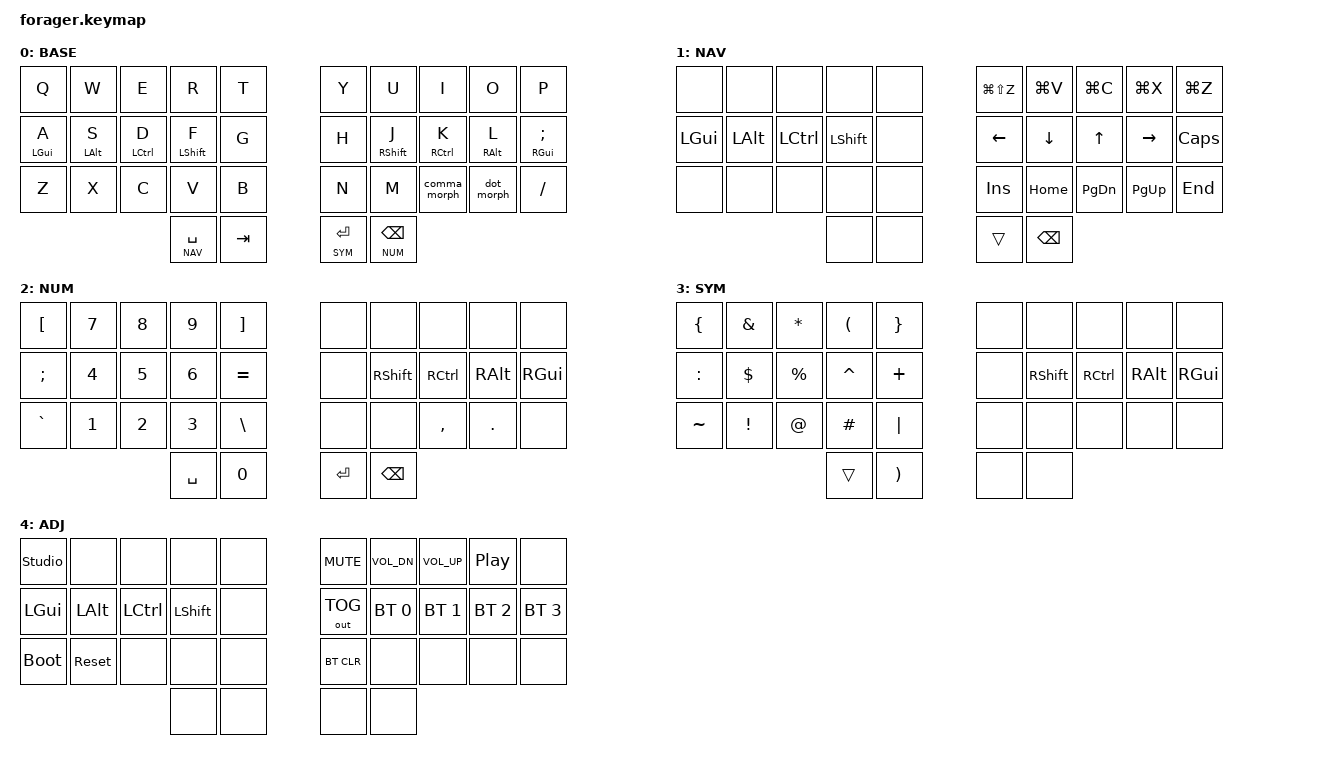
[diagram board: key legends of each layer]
/*
 * Copyright (c) 2020 The ZMK Contributors
 *
 * SPDX-License-Identifier: MIT
 */

//
//   Miryoku-style layout — QWERTY base, vim arrows (HJKL), GACS home row mods.
//   Adapted from the Corne (42-key) config to the Forager (34-key).
//   urob-inspired: timeless positional HRM, punctuation morphs, smart num.
//
//   Layer 0: BASE  — QWERTY + home row mods
//   Layer 1: NAV   — vim arrows, clipboard, nav      (hold left SPACE thumb)
//   Layer 2: NUM   — numpad on left hand    (hold right BSPC thumb; J+K latches)
//   Layer 3: SYM   — symbols on left hand            (hold right RET thumb)
//   Layer 4: ADJ   — BT, output, studio, vol, reset  (hold SPACE+RET together)
//
//   A rendered diagram of this keymap lives at keymap-drawer/forager.svg
//   (auto-generated by the "Draw keymap" workflow).

#include <behaviors.dtsi>
#include <dt-bindings/zmk/bt.h>
#include <dt-bindings/zmk/keys.h>
#include <dt-bindings/zmk/outputs.h>

#define BASE 0
#define NAV  1
#define NUM  2
#define SYM  3
#define ADJ  4

// Forager key positions (34 keys):
// Row 0:  0  1  2  3  4     5  6  7  8  9
// Row 1: 10 11 12 13 14    15 16 17 18 19
// Row 2: 20 21 22 23 24    25 26 27 28 29
// Thumb:        30 31      32 33
#define KEYS_L 0 1 2 3 4 10 11 12 13 14 20 21 22 23 24
#define KEYS_R 5 6 7 8 9 15 16 17 18 19 25 26 27 28 29
#define THUMBS 30 31 32 33

&lt {
    flavor = "balanced";
    tapping-term-ms = <200>;
    quick-tap-ms = <175>;
};

/ {
    conditional_layers {
        compatible = "zmk,conditional-layers";

        // ADJ holds BT/bootloader/reset — two-handed chord only, so a
        // single-thumb misfire can never land on it.
        adj_tri_layer {
            if-layers = <NAV SYM>;
            then-layer = <ADJ>;
        };
    };

    behaviors {
        // -- Timeless positional home row mods (urob-style) --
        // balanced + require-prior-idle + cross-hand-only trigger positions.

        hml: home_row_mod_left {
            compatible = "zmk,behavior-hold-tap";
            #binding-cells = <2>;
            flavor = "balanced";
            tapping-term-ms = <280>;
            quick-tap-ms = <175>;
            require-prior-idle-ms = <150>;
            bindings = <&kp>, <&kp>;
            hold-trigger-key-positions = <KEYS_R THUMBS>;
            hold-trigger-on-release;
        };

        hmr: home_row_mod_right {
            compatible = "zmk,behavior-hold-tap";
            #binding-cells = <2>;
            flavor = "balanced";
            tapping-term-ms = <280>;
            quick-tap-ms = <175>;
            require-prior-idle-ms = <150>;
            bindings = <&kp>, <&kp>;
            hold-trigger-key-positions = <KEYS_L THUMBS>;
            hold-trigger-on-release;
        };

        // -- Punctuation mod-morphs (urob-style) --
        // ,  -> shift: ;   ctrl+shift: <
        // .  -> shift: :   ctrl+shift: >

        comma_morph: comma_morph {
            compatible = "zmk,behavior-mod-morph";
            #binding-cells = <0>;
            bindings = <&kp COMMA>, <&comma_inner_morph>;
            mods = <(MOD_LSFT|MOD_RSFT)>;
        };

        comma_inner_morph: comma_inner_morph {
            compatible = "zmk,behavior-mod-morph";
            #binding-cells = <0>;
            bindings = <&kp SEMICOLON>, <&kp LESS_THAN>;
            mods = <(MOD_LCTL|MOD_RCTL)>;
        };

        dot_morph: dot_morph {
            compatible = "zmk,behavior-mod-morph";
            #binding-cells = <0>;
            bindings = <&kp DOT>, <&dot_inner_morph>;
            mods = <(MOD_LSFT|MOD_RSFT)>;
        };

        dot_inner_morph: dot_inner_morph {
            compatible = "zmk,behavior-mod-morph";
            #binding-cells = <0>;
            bindings = <&kp COLON>, <&kp GREATER_THAN>;
            mods = <(MOD_LCTL|MOD_RCTL)>;
        };

        // -- Num-word (urob-style, needs zmk-auto-layer module) --
        // Latches the NUM layer until a non-number key is pressed.
        // Triggered by the J+K combo so the R-outer thumb keeps an
        // instant, hold-to-repeat Backspace (&lt NUM BSPC).

        num_word: num_word {
            compatible = "zmk,behavior-auto-layer";
            #binding-cells = <1>;
            continue-list = <N0 N1 N2 N3 N4 N5 N6 N7 N8 N9 DOT COMMA MINUS PLUS ASTERISK SLASH EQUAL BSPC DEL>;
            ignore-modifiers;
        };
    };

    combos {
        compatible = "zmk,combos";

        // -- From old Forager config --

        combo_esc {
            bindings = <&kp ESC>;
            key-positions = <0 1>;          // Q + W
            layers = <BASE>;
            timeout-ms = <30>;
            require-prior-idle-ms = <150>;
        };

        // -- Tier 1: Essential (from Corne) --

        combo_caps_word {
            bindings = <&caps_word>;
            key-positions = <13 16>;        // F + J (index home row)
            layers = <BASE>;
            timeout-ms = <30>;
            require-prior-idle-ms = <150>;
        };

        combo_bspc {
            bindings = <&kp BSPC>;
            key-positions = <7 8>;          // I + O
            layers = <BASE>;
            timeout-ms = <30>;
            require-prior-idle-ms = <150>;
        };

        combo_del {
            bindings = <&kp DEL>;
            key-positions = <8 9>;          // O + P
            layers = <BASE>;
            timeout-ms = <30>;
            require-prior-idle-ms = <150>;
        };

        // -- Tier 2: High Value (from Corne) --

        combo_tab {
            bindings = <&kp TAB>;
            key-positions = <11 12>;        // S + D
            layers = <BASE>;
            timeout-ms = <30>;
            require-prior-idle-ms = <150>;
        };

        combo_enter {
            bindings = <&kp RET>;
            key-positions = <17 18>;        // K + L
            layers = <BASE>;
            timeout-ms = <30>;
            require-prior-idle-ms = <150>;
        };

        combo_num_word {
            bindings = <&num_word NUM>;
            key-positions = <16 17>;        // J + K (latch NUM until non-number)
            layers = <BASE>;
            timeout-ms = <30>;
            require-prior-idle-ms = <150>;
        };

        combo_copy {
            bindings = <&kp LG(C)>;
            key-positions = <21 22>;        // X + C
            layers = <BASE>;
            timeout-ms = <30>;
            require-prior-idle-ms = <150>;
        };

        combo_paste {
            bindings = <&kp LG(V)>;
            key-positions = <22 23>;        // C + V
            layers = <BASE>;
            timeout-ms = <30>;
            require-prior-idle-ms = <150>;
        };

        combo_cut {
            bindings = <&kp LG(X)>;
            key-positions = <21 23>;        // X + V (skip middle)
            layers = <BASE>;
            timeout-ms = <30>;
            require-prior-idle-ms = <150>;
        };

        // -- Tier 3: Vertical Symbol Combos (from Corne) --

        combo_minus {
            bindings = <&kp MINUS>;
            key-positions = <16 26>;        // J + M (right index vertical)
            layers = <BASE>;
            timeout-ms = <40>;
            require-prior-idle-ms = <100>;
        };

        combo_underscore {
            bindings = <&kp UNDER>;
            key-positions = <15 25>;        // H + N (right inner vertical)
            layers = <BASE>;
            timeout-ms = <40>;
            require-prior-idle-ms = <100>;
        };

        combo_equal {
            bindings = <&kp EQUAL>;
            key-positions = <13 23>;        // F + V (left index vertical)
            layers = <BASE>;
            timeout-ms = <40>;
            require-prior-idle-ms = <100>;
        };

        combo_grave {
            bindings = <&kp GRAVE>;
            key-positions = <11 21>;        // S + X (left ring vertical)
            layers = <BASE>;
            timeout-ms = <40>;
            require-prior-idle-ms = <100>;
        };
    };

    keymap {
        compatible = "zmk,keymap";

        base_layer {
            display-name = "BASE";
            bindings = <
&kp Q        &kp W        &kp E         &kp R          &kp T          &kp Y        &kp U         &kp I         &kp O        &kp P
&hml LGUI A  &hml LALT S  &hml LCTRL D  &hml LSHFT F   &kp G          &kp H        &hmr RSHFT J  &hmr RCTRL K  &hmr RALT L  &hmr RGUI SEMI
&kp Z        &kp X        &kp C         &kp V          &kp B          &kp N        &kp M         &comma_morph  &dot_morph   &kp FSLH
                                        &lt NAV SPACE  &kp TAB       &lt SYM RET  &lt NUM BSPC
            >;
        };

        nav_layer {
            display-name = "NAV";
            bindings = <
&none       &none       &none         &none          &none          &kp LG(LS(Z)) &kp LG(V)    &kp LG(C)    &kp LG(X)   &kp LG(Z)
&kp LGUI    &kp LALT    &kp LCTRL     &kp LSHFT      &none          &kp LEFT      &kp DOWN     &kp UP       &kp RIGHT   &kp CAPS
&none       &none       &none         &none          &none          &kp INS       &kp HOME     &kp PG_DN    &kp PG_UP   &kp END
                                      &none          &none          &trans        &kp BSPC
            >;
        };

        num_layer {
            display-name = "NUM";
            bindings = <
&kp LBKT    &kp N7      &kp N8        &kp N9         &kp RBKT       &none        &none         &none        &none       &none
&kp SEMI    &kp N4      &kp N5        &kp N6         &kp EQUAL      &none        &kp RSHFT     &kp RCTRL    &kp RALT    &kp RGUI
&kp GRAVE   &kp N1      &kp N2        &kp N3         &kp BSLH       &none        &none         &kp COMMA    &kp DOT     &none
                                      &kp SPACE      &kp N0         &kp RET      &kp BSPC
            >;
        };

        sym_layer {
            display-name = "SYM";
            bindings = <
&kp LBRC    &kp AMPS    &kp ASTRK     &kp LPAR       &kp RBRC       &none        &none         &none        &none       &none
&kp COLON   &kp DLLR    &kp PRCNT     &kp CARET      &kp PLUS       &none        &kp RSHFT     &kp RCTRL    &kp RALT    &kp RGUI
&kp TILDE   &kp EXCL    &kp AT        &kp HASH       &kp PIPE       &none        &none         &none        &none       &none
                                      &trans         &kp RPAR       &none        &none
            >;
        };

        adj_layer {
            display-name = "ADJ";
            bindings = <
&studio_unlock &none    &none         &none          &none          &kp C_MUTE   &kp C_VOL_DN  &kp C_VOL_UP &kp C_PP    &none
&kp LGUI    &kp LALT    &kp LCTRL     &kp LSHFT      &none          &out OUT_TOG &bt BT_SEL 0  &bt BT_SEL 1 &bt BT_SEL 2 &bt BT_SEL 3
&bootloader &sys_reset  &none         &none          &none          &bt BT_CLR   &none         &none        &none       &none
                                      &none          &none          &none        &none
            >;
        };
    };
};
